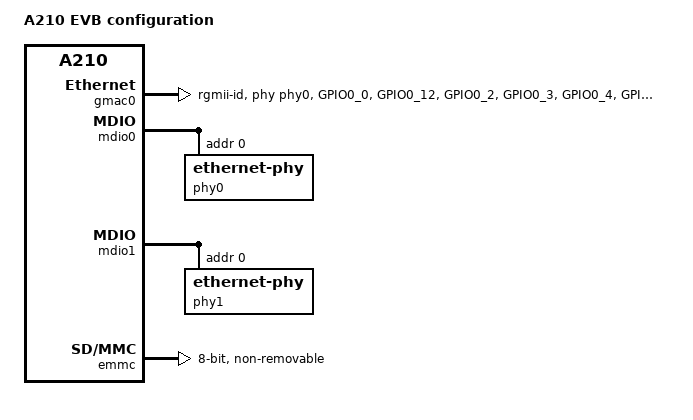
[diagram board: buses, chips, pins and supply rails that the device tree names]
// SPDX-License-Identifier: (GPL-2.0-only OR BSD-2-Clause)
/dts-v1/;

#include "a210.dtsi"

/ {
	model = "A210 EVB configuration";
	compatible = "zhihe,a210-evb", "zhihe,a210";

	aliases {
		ethernet0 = &gmac0;
		ethernet1 = &gmac1;
		mmc0 = &emmc;
		serial0 = &uart0;
		serial1 = &uart1;
		serial2 = &uart2;
		serial3 = &uart3;
		serial4 = &uart4;
		serial5 = &uart5;
		serial6 = &uart6;
		serial7 = &uart7;
		serial8 = &uart8;
		serial9 = &uart9;
	};
};

&gmac0 {
	phy-mode = "rgmii-id";
	status = "okay";
	pinctrl-names = "default";
	pinctrl-0 = <&gmac0_pins>;
	rx-clk-delay = <0x00>;
	tx-clk-delay = <0x00>;
	phy-handle = <&phy0>;
};

&mdio0 {
	phy0: ethernet-phy@0 {
		reg = <0x0>;
	};
};

&gmac1 {
	phy-mode = "rgmii-id";
	status = "disabled";
	pinctrl-names = "default";
	pinctrl-0 = <&gmac1_pins>;
	phy-handle = <&phy1>;
};

&mdio1 {
	phy1: ethernet-phy@0 {
		reg = <0x0>;
	};
};

&peri1_padctrl {
	gmac0_pins: gmac0-0 {
		txclk-pins {
			pins = "GPIO0_0", /* GMAC0_TX_CLK */
			       "GPIO0_12"; /* GMAC0_MDC */
			function = "gmac0";
			bias-disable;
			drive-strength = <13>;
			input-disable;
			input-schmitt-disable;
			slew-rate = <0>;
		};

		tx-pins {
			pins = "GPIO0_2", /* GMAC0_TXEN */
			       "GPIO0_3", /* GMAC0_TXD0 */
			       "GPIO0_4", /* GMAC0_TXD1 */
			       "GPIO0_5", /* GMAC0_TXD2 */
			       "GPIO0_6"; /* GMAC0_TXD3 */
			function = "gmac0";
			bias-disable;
			drive-strength = <20>;
			input-disable;
			input-schmitt-disable;
			slew-rate = <0>;
		};

		rx-pins {
			pins = "GPIO0_1",  /* GMAC0_RX_CLK */
			       "GPIO0_7",  /* GMAC0_RXDV */
			       "GPIO0_8",  /* GMAC0_RXD0 */
			       "GPIO0_9",  /* GMAC0_RXD1 */
			       "GPIO0_10", /* GMAC0_RXD2 */
			       "GPIO0_11", /* GMAC0_RXD3 */
			       "GPIO0_13"; /* GMAC0_MDIO */
			function = "gmac0";
			bias-disable;
			drive-strength = <13>;
			input-enable;
			input-schmitt-disable;
			slew-rate = <0>;
		};
	};

	uart3_pins: uart3-0 {
		tx-pins {
			pins = "GPIO0_3", "GPIO0_6"; /* TXD, RTSN */
			function = "uart3";
			bias-disable;
			drive-strength = <3>;
			input-disable;
			input-schmitt-disable;
			slew-rate = <0>;
		};

		rx-pins {
			pins = "GPIO0_4", "GPIO0_5"; /* RXD, CTSN */
			function = "uart3";
			bias-disable;
			drive-strength = <1>;
			input-enable;
			input-schmitt-enable;
			slew-rate = <0>;
		};
	};
	uart0_pins: uart0-0 {
		tx-pins {
			pins = "GPIO0_14", "GPIO0_17"; /* TXD, RTSN */
			function = "uart0";
			bias-disable;
			drive-strength = <3>;
			input-disable;
			input-schmitt-disable;
			slew-rate = <0>;
		};

		rx-pins {
			pins = "GPIO0_15", "GPIO0_16"; /* RXD, CTSN */
			function = "uart0";
			bias-disable;
			drive-strength = <1>;
			input-enable;
			input-schmitt-enable;
			slew-rate = <0>;
		};
	};
	uart1_pins: uart1-1 {
		tx-pins {
			pins = "GPIO0_28", "GPIO0_31"; /* TXD, RTSN */
			function = "uart1";
			bias-disable;
			drive-strength = <3>;
			input-disable;
			input-schmitt-disable;
			slew-rate = <0>;
		};

		rx-pins {
			pins = "GPIO0_29", "GPIO0_30"; /* RXD, CTSN */
			function = "uart1";
			bias-disable;
			drive-strength = <1>;
			input-enable;
			input-schmitt-enable;
			slew-rate = <0>;
		};
	};

	gmac1_pins: gmac1-0 {
		txclk-pins {
			pins = "GPIO1_2", /* GMAC1_TX_CLK */
			       "GPIO1_14"; /* GMAC1_MDC */
			function = "gmac1";
			bias-disable;
			drive-strength = <13>;
			input-disable;
			input-schmitt-disable;
			slew-rate = <0>;
		};

		tx-pins {
			pins = "GPIO1_4", /* GMAC1_TXEN */
			       "GPIO1_5", /* GMAC1_TXD0 */
			       "GPIO1_6", /* GMAC1_TXD1 */
			       "GPIO1_7", /* GMAC1_TXD2 */
			       "GPIO1_8"; /* GMAC1_TXD3 */
			function = "gmac1";
			bias-disable;
			drive-strength = <20>;
			input-disable;
			input-schmitt-disable;
			slew-rate = <0>;
		};

		rx-pins {
			pins = "GPIO1_3",  /* GMAC1_RX_CLK */
			       "GPIO1_9",  /* GMAC1_RXDV */
			       "GPIO1_10", /* GMAC1_RXD0 */
			       "GPIO1_11", /* GMAC1_RXD1 */
			       "GPIO1_12", /* GMAC1_RXD2 */
			       "GPIO1_13", /* GMAC1_RXD3 */
			       "GPIO1_15"; /* GMAC1_MDIO */
			function = "gmac1";
			bias-disable;
			drive-strength = <13>;
			input-enable;
			input-schmitt-disable;
			slew-rate = <0>;
		};
	};

	uart2_pins: uart2-0 {
		tx-pins {
			pins = "GPIO1_1";
			function = "uart2";
			bias-disable;
			drive-strength = <3>;
			input-disable;
			input-schmitt-disable;
			slew-rate = <0>;
		};

		rx-pins {
			pins = "GPIO1_0";
			function = "uart2";
			bias-disable;
			drive-strength = <1>;
			input-enable;
			input-schmitt-enable;
			slew-rate = <0>;
		};
	};
};

&peri2_padctrl {
	uart4_pins: uart4-0 {
		tx-pins {
			pins = "GPIO2_0";
			function = "uart4";
			bias-disable;
			drive-strength = <3>;
			input-disable;
			input-schmitt-disable;
			slew-rate = <0>;
		};

		rx-pins {
			pins = "GPIO2_1";
			function = "uart4";
			bias-disable;
			drive-strength = <1>;
			input-enable;
			input-schmitt-enable;
			slew-rate = <0>;
		};
	};
	uart5_pins: uart5-0 {
		tx-pins {
			pins = "GPIO2_2";
			function = "uart5";
			bias-disable;
			drive-strength = <3>;
			input-disable;
			input-schmitt-disable;
			slew-rate = <0>;
		};

		rx-pins {
			pins = "GPIO2_3";
			function = "uart5";
			bias-disable;
			drive-strength = <1>;
			input-enable;
			input-schmitt-enable;
			slew-rate = <0>;
		};
	};
	uart6_pins: uart6-0 {
		tx-pins {
			pins = "GPIO2_4", "GPIO2_9"; /* TXD, RTSN */
			function = "uart6";
			bias-disable;
			drive-strength = <3>;
			input-disable;
			input-schmitt-disable;
			slew-rate = <0>;
		};

		rx-pins {
			pins = "GPIO2_5", "GPIO2_8"; /* RXD, CTSN */
			function = "uart6";
			bias-disable;
			drive-strength = <1>;
			input-enable;
			input-schmitt-enable;
			slew-rate = <0>;
		};
	};
	uart7_pins: uart7-0 {
		tx-pins {
			pins = "GPIO2_6";
			function = "uart7";
			bias-disable;
			drive-strength = <3>;
			input-disable;
			input-schmitt-disable;
			slew-rate = <0>;
		};

		rx-pins {
			pins = "GPIO2_7";
			function = "uart7";
			bias-disable;
			drive-strength = <1>;
			input-enable;
			input-schmitt-enable;
			slew-rate = <0>;
		};
	};
	uart9_pins: uart9-0 {
		tx-pins {
			pins = "GPIO2_10";
			function = "uart9";
			bias-disable;
			drive-strength = <3>;
			input-disable;
			input-schmitt-disable;
			slew-rate = <0>;
		};

		rx-pins {
			pins = "GPIO2_11";
			function = "uart9";
			bias-disable;
			drive-strength = <1>;
			input-enable;
			input-schmitt-enable;
			slew-rate = <0>;
		};
	};
	sen_vclk_pin0: sen-vclk-0 {
		sen-vclk0-pins {
			pins = "GPIO3_0";
			function = "sen_vclk";
			bias-disable;
			drive-strength = <7>;
			input-enable;
			input-schmitt-enable;
			slew-rate = <0>;
		};
	};
	sen_vclk_pin1: sen-vclk-1 {
		sen-vclk1-pins {
			pins = "GPIO3_1";
			function = "sen_vclk";
			bias-disable;
			drive-strength = <7>;
			input-enable;
			input-schmitt-enable;
			slew-rate = <0>;
		};
	};
	uart8_pins: uart8-1 {
		tx-pins {
			pins = "GPIO3_2";
			function = "uart8";
			bias-disable;
			drive-strength = <3>;
			input-disable;
			input-schmitt-disable;
			slew-rate = <0>;
		};

		rx-pins {
			pins = "GPIO3_3";
			function = "uart8";
			bias-disable;
			drive-strength = <1>;
			input-enable;
			input-schmitt-enable;
			slew-rate = <0>;
		};
	};
};

&uart2 {
	pinctrl-names = "default";
	pinctrl-0 = <&uart2_pins>;
};

&uart3 {
	pinctrl-names = "default";
	pinctrl-0 = <&uart3_pins>;
};

&uart4 {
	/*
	 * Keep the console UART independent of the optional A210 pinctrl
	 * driver.  The boot firmware has already configured these pins.
	 */
};

&uart7 {
	pinctrl-names = "default";
	pinctrl-0 = <&uart7_pins>;
};

&uart8 {
	pinctrl-names = "default";
	pinctrl-0 = <&uart8_pins>;
};

&uart0 {
	pinctrl-names = "default";
	pinctrl-0 = <&uart0_pins>;
};

&uart1 {
	pinctrl-names = "default";
	pinctrl-0 = <&uart1_pins>;
};

&uart5 {
	pinctrl-names = "default";
	pinctrl-0 = <&uart5_pins>;
};

&uart6 {
	pinctrl-names = "default";
	pinctrl-0 = <&uart6_pins>;
};

&uart9 {
	pinctrl-names = "default";
	pinctrl-0 = <&uart9_pins>;
};

&emmc {
	max-frequency = <196608000>;
	non-removable;
	mmc-hs400-enhanced-strobe;
	mmc-hs400-1_8v;
	mmc-hs200-1_8v;
	no-sdio;
	no-sd;
	bus-width = <8>;
	cap-mmc-highspeed;
};

&cluster0_opp {
	opp0-500000000 {
		opp-microvolt = <1000000>;
	};
	opp0-1200000000 {
		opp-microvolt = <1000000>;
	};
	opp0-1500000000 {
		opp-microvolt = <1000000>;
	};
	opp0-1698000000 {
		opp-microvolt = <1000000>;
	};
	opp0-1896000000 {
		opp-microvolt = <1000000>;
	};
};

&cluster1_opp {
	opp1-500000000 {
		opp-microvolt = <1000000>;
	};
	opp1-1698000000 {
		opp-microvolt = <1000000>;
	};
	opp1-1896000000 {
		opp-microvolt = <1000000>;
	};
	opp1-2298000000 {
		opp-microvolt = <1000000>;
	};
};

&uart0 {
	status = "disabled";
};

&uart1 {
	status = "disabled";
};

&uart2 {
	status = "disabled";
};

&uart3 {
	status = "disabled";
};

&uart5 {
	status = "disabled";
};

&uart6 {
	status = "disabled";
};

&uart7 {
	status = "disabled";
};

&uart8 {
	status = "disabled";
};

&uart9 {
	status = "disabled";
};

&peri3_padctrl {
	status = "disabled";
};
